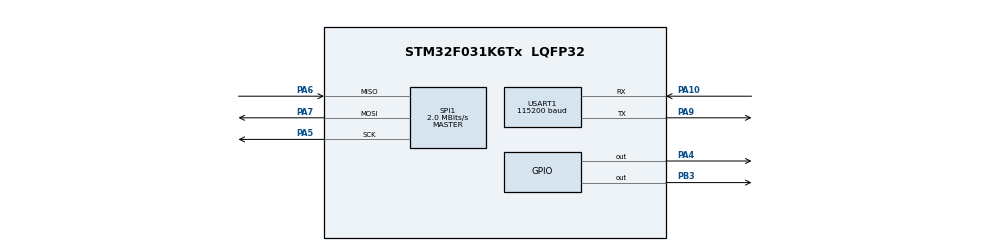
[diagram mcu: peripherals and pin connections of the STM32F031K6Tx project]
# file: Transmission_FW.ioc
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Mcu.Family=STM32F0
Mcu.Name=STM32F031K6Tx
Mcu.Package=LQFP32
NVIC.SPI1_IRQn=true\:0\:0\:false\:false\:true\:true\:true\:true
NVIC.TIM1_BRK_UP_TRG_COM_IRQn=true\:0\:0\:false\:false\:true\:true\:true\:true
NVIC.TIM1_CC_IRQn=true\:0\:0\:false\:false\:true\:true\:true\:true
NVIC.USART1_IRQn=true\:0\:0\:false\:false\:true\:true\:true\:true
PA10.Mode=Asynchronous
PA10.Signal=USART1_RX
PA4.Signal=GPIO_Output
PA5.Mode=Full_Duplex_Master
PA5.Signal=SPI1_SCK
PA6.Mode=Full_Duplex_Master
PA6.Signal=SPI1_MISO
PA7.Mode=Full_Duplex_Master
PA7.Signal=SPI1_MOSI
PA9.Mode=Asynchronous
PA9.Signal=USART1_TX
PB3.Signal=GPIO_Output
ProjectManager.HeapSize=0x200
ProjectManager.StackSize=0x400
ProjectManager.TargetToolchain=STM32CubeIDE
SPI1.BaudRatePrescaler=SPI_BAUDRATEPRESCALER_4
SPI1.CalculateBaudRate=2.0 MBits/s
SPI1.DataSize=SPI_DATASIZE_8BIT
SPI1.Direction=SPI_DIRECTION_2LINES
SPI1.FirstBit=SPI_FIRSTBIT_MSB
SPI1.Mode=SPI_MODE_MASTER
SPI1.VirtualType=VM_MASTER
USART1.BaudRate=115200
USART1.VirtualMode-Asynchronous=VM_ASYNC
VP_RTC_VS_RTC_Activate.Mode=RTC_Enabled
VP_RTC_VS_RTC_Calendar.Mode=RTC_Calendar
VP_TIM1_VS_ClockSourceINT.Mode=Internal
board=custom

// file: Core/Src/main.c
/* USER CODE BEGIN Header */
/**
  ******************************************************************************
  * @file           : main.c
  * @brief          : Main program body
  ******************************************************************************
  * @attention
  *
  * Copyright (c) 2023 STMicroelectronics.
  * All rights reserved.
  *
  * This software is licensed under terms that can be found in the LICENSE file
  * in the root directory of this software component.
  * If no LICENSE file comes with this software, it is provided AS-IS.
  *
  ******************************************************************************
  */
/* USER CODE END Header */
#include "main.h"

/* USER CODE BEGIN Includes */
#include "main.h"
#include "sx1278.h"
#include <string.h>

/* USER CODE END Includes */

RTC_HandleTypeDef hrtc;

SPI_HandleTypeDef hspi1;

TIM_HandleTypeDef htim1;

UART_HandleTypeDef huart1;

/* USER CODE BEGIN PV */
radio r;

__attribute__((unused))
uint8_t data[] = "$uicide Boys no we still breathn$uicide Boys no we still breathn\0\0\0\0\0";
uint8_t rx_mesg[] = "Entering RX Mode\r\n";
/* USER CODE END PV */

void SystemClock_Config(void);
static void MX_GPIO_Init(void);
static void MX_RTC_Init(void);
static void MX_SPI1_Init(void);
static void MX_TIM1_Init(void);
static void MX_USART1_UART_Init(void);
/* USER CODE BEGIN PFP */

//#define TRANSMITTER_MODULE	 	0
#define RECEIVER_MODULE		0
#define BUFFER_SIZE 64

typedef struct {
	uint8_t buffer[BUFFER_SIZE];
	uint8_t buffer_len;
	uint8_t buffer_ready;
}uart_rx;

uart_rx uart_buffer;
/* USER CODE END PFP */

/* USER CODE BEGIN 0 */

void HAL_UART_RxCpltCallback(UART_HandleTypeDef *huart)
{
	//Is there enough space for EOL
	if(uart_buffer.buffer_len < BUFFER_SIZE-1)
	{
		//If Carriage Return Detected.
		if(uart_buffer.buffer[uart_buffer.buffer_len] == '\r')
		{
			//Get Ready to TX the packet of information.
			uart_buffer.buffer[uart_buffer.buffer_len] = '\n';
			uart_buffer.buffer[uart_buffer.buffer_len++] = '\0';
			uart_buffer.buffer_ready = 1;
		}
		else
		{
			HAL_UART_Transmit_IT(&huart1, &uart_buffer.buffer[uart_buffer.buffer_len], 1);
			uart_buffer.buffer_len++;
			HAL_UART_Receive_IT(&huart1, &uart_buffer.buffer[uart_buffer.buffer_len], 1);
		}
	}
	else
	{
		//Buffer is full
		uart_buffer.buffer_ready = 1;
	}
}

void tmp_rx(radio *r, SPI_HandleTypeDef *hspi)
{
	r->sx_state = RECEIVER;
}

void HAL_TIM_PeriodElapsedCallback(TIM_HandleTypeDef *htim){
//	tmp_tx(&r, &hspi1, data, sizeof(data));
}

void sx1278_initializtation(void)
{
	  sx1278_init(&r, &hspi1);
	  r.huart = &huart1;
	  HAL_TIM_Base_Init(&htim1);
#ifdef TRANSMITTER_MODULE
	  uart_buffer.buffer_len = 0;
	  uart_buffer.buffer_ready = 0;
	  HAL_UART_Receive_IT(&huart1, &uart_buffer.buffer[0], 1);
#endif
#ifdef RECEIVER_MODULE
	  HAL_UART_Transmit(&huart1, rx_mesg, strlen((char*)rx_mesg), 100);
	  tmp_rx(&r, &hspi1);
#endif
}

/* USER CODE END 0 */

int main(void)
{

  /* MCU Configuration--------------------------------------------------------*/

  /* Reset of all peripherals, Initializes the Flash interface and the Systick. */
  HAL_Init();

  /* Configure the system clock */
  SystemClock_Config();

  /* Initialize all configured peripherals */
  MX_GPIO_Init();
  MX_RTC_Init();
  MX_SPI1_Init();
  MX_TIM1_Init();
  MX_USART1_UART_Init();
  /* USER CODE BEGIN 2 */
  sx1278_initializtation();
  /* USER CODE END 2 */

  /* Infinite loop */
  /* USER CODE BEGIN WHILE */
  while (1)
  {
	  SX1278_APP(&r, &hspi1);
#ifdef TRANSMITTER_MODULE
	  if(uart_buffer.buffer_ready)
	  {
		  //Buffer is ready. Submit to be sent.
		  if(!r.tx_state_flags.tx_packet_start)
		  {
			  r.sx_state = TRANSMITTER;
		  	  memcpy(r.tx_buffer, (void *)&uart_buffer.buffer[0],uart_buffer.buffer_len);
		  	  r.tx_state_flags.tx_packet_start = 1;
		  }
		  else if(r.tx_state_flags.tx_packet_sent)
		  {
			  //Packet Sent.
			  uart_buffer.buffer_ready = 0;
			  uart_buffer.buffer_len = 0;
			  r.tx_state_flags.tx_packet_start = 0;
			  HAL_UART_Receive_IT(&huart1, &uart_buffer.buffer[0], 1);
		  }
		  else
		  {
			  //Wait
		  }
	  }
#endif
    /* USER CODE END WHILE */

  }
}

void SystemClock_Config(void)
{
  RCC_OscInitTypeDef RCC_OscInitStruct = {0};
  RCC_ClkInitTypeDef RCC_ClkInitStruct = {0};
  RCC_PeriphCLKInitTypeDef PeriphClkInit = {0};

  /** Initializes the RCC Oscillators according to the specified parameters
  * in the RCC_OscInitTypeDef structure.
  */
  RCC_OscInitStruct.OscillatorType = RCC_OSCILLATORTYPE_HSI|RCC_OSCILLATORTYPE_LSI;
  RCC_OscInitStruct.HSIState = RCC_HSI_ON;
  RCC_OscInitStruct.HSICalibrationValue = RCC_HSICALIBRATION_DEFAULT;
  RCC_OscInitStruct.LSIState = RCC_LSI_ON;
  RCC_OscInitStruct.PLL.PLLState = RCC_PLL_NONE;
  if (HAL_RCC_OscConfig(&RCC_OscInitStruct) != HAL_OK)
  {
    Error_Handler();
  }

  /** Initializes the CPU, AHB and APB buses clocks
  */
  RCC_ClkInitStruct.ClockType = RCC_CLOCKTYPE_HCLK|RCC_CLOCKTYPE_SYSCLK
                              |RCC_CLOCKTYPE_PCLK1;
  RCC_ClkInitStruct.SYSCLKSource = RCC_SYSCLKSOURCE_HSI;
  RCC_ClkInitStruct.AHBCLKDivider = RCC_SYSCLK_DIV1;
  RCC_ClkInitStruct.APB1CLKDivider = RCC_HCLK_DIV1;

  if (HAL_RCC_ClockConfig(&RCC_ClkInitStruct, FLASH_LATENCY_0) != HAL_OK)
  {
    Error_Handler();
  }
  PeriphClkInit.PeriphClockSelection = RCC_PERIPHCLK_USART1|RCC_PERIPHCLK_RTC;
  PeriphClkInit.Usart1ClockSelection = RCC_USART1CLKSOURCE_PCLK1;
  PeriphClkInit.RTCClockSelection = RCC_RTCCLKSOURCE_LSI;
  if (HAL_RCCEx_PeriphCLKConfig(&PeriphClkInit) != HAL_OK)
  {
    Error_Handler();
  }
}

static void MX_RTC_Init(void)
{

  RTC_TimeTypeDef sTime = {0};
  RTC_DateTypeDef sDate = {0};

  /** Initialize RTC Only
  */
  hrtc.Instance = RTC;
  hrtc.Init.HourFormat = RTC_HOURFORMAT_24;
  hrtc.Init.AsynchPrediv = 127;
  hrtc.Init.SynchPrediv = 255;
  hrtc.Init.OutPut = RTC_OUTPUT_DISABLE;
  hrtc.Init.OutPutPolarity = RTC_OUTPUT_POLARITY_HIGH;
  hrtc.Init.OutPutType = RTC_OUTPUT_TYPE_OPENDRAIN;
  if (HAL_RTC_Init(&hrtc) != HAL_OK)
  {
    Error_Handler();
  }

  /** Initialize RTC and set the Time and Date
  */
  sTime.Hours = 0x0;
  sTime.Minutes = 0x0;
  sTime.Seconds = 0x0;
  sTime.DayLightSaving = RTC_DAYLIGHTSAVING_NONE;
  sTime.StoreOperation = RTC_STOREOPERATION_RESET;
  if (HAL_RTC_SetTime(&hrtc, &sTime, RTC_FORMAT_BCD) != HAL_OK)
  {
    Error_Handler();
  }
  sDate.WeekDay = RTC_WEEKDAY_MONDAY;
  sDate.Month = RTC_MONTH_JANUARY;
  sDate.Date = 0x1;
  sDate.Year = 0x0;

  if (HAL_RTC_SetDate(&hrtc, &sDate, RTC_FORMAT_BCD) != HAL_OK)
  {
    Error_Handler();
  }

}

static void MX_SPI1_Init(void)
{

  /* SPI1 parameter configuration*/
  hspi1.Instance = SPI1;
  hspi1.Init.Mode = SPI_MODE_MASTER;
  hspi1.Init.Direction = SPI_DIRECTION_2LINES;
  hspi1.Init.DataSize = SPI_DATASIZE_8BIT;
  hspi1.Init.CLKPolarity = SPI_POLARITY_LOW;
  hspi1.Init.CLKPhase = SPI_PHASE_1EDGE;
  hspi1.Init.NSS = SPI_NSS_SOFT;
  hspi1.Init.BaudRatePrescaler = SPI_BAUDRATEPRESCALER_4;
  hspi1.Init.FirstBit = SPI_FIRSTBIT_MSB;
  hspi1.Init.TIMode = SPI_TIMODE_DISABLE;
  hspi1.Init.CRCCalculation = SPI_CRCCALCULATION_DISABLE;
  hspi1.Init.CRCPolynomial = 7;
  hspi1.Init.CRCLength = SPI_CRC_LENGTH_DATASIZE;
  hspi1.Init.NSSPMode = SPI_NSS_PULSE_ENABLE;
  if (HAL_SPI_Init(&hspi1) != HAL_OK)
  {
    Error_Handler();
  }

}

static void MX_TIM1_Init(void)
{

  TIM_ClockConfigTypeDef sClockSourceConfig = {0};
  TIM_MasterConfigTypeDef sMasterConfig = {0};

  htim1.Instance = TIM1;
  htim1.Init.Prescaler = 0;
  htim1.Init.CounterMode = TIM_COUNTERMODE_UP;
  htim1.Init.Period = 65535;
  htim1.Init.ClockDivision = TIM_CLOCKDIVISION_DIV1;
  htim1.Init.RepetitionCounter = 0;
  htim1.Init.AutoReloadPreload = TIM_AUTORELOAD_PRELOAD_DISABLE;
  if (HAL_TIM_Base_Init(&htim1) != HAL_OK)
  {
    Error_Handler();
  }
  sClockSourceConfig.ClockSource = TIM_CLOCKSOURCE_INTERNAL;
  if (HAL_TIM_ConfigClockSource(&htim1, &sClockSourceConfig) != HAL_OK)
  {
    Error_Handler();
  }
  sMasterConfig.MasterOutputTrigger = TIM_TRGO_RESET;
  sMasterConfig.MasterSlaveMode = TIM_MASTERSLAVEMODE_DISABLE;
  if (HAL_TIMEx_MasterConfigSynchronization(&htim1, &sMasterConfig) != HAL_OK)
  {
    Error_Handler();
  }

}

static void MX_USART1_UART_Init(void)
{

  huart1.Instance = USART1;
  huart1.Init.BaudRate = 115200;
  huart1.Init.WordLength = UART_WORDLENGTH_8B;
  huart1.Init.StopBits = UART_STOPBITS_1;
  huart1.Init.Parity = UART_PARITY_NONE;
  huart1.Init.Mode = UART_MODE_TX_RX;
  huart1.Init.HwFlowCtl = UART_HWCONTROL_NONE;
  huart1.Init.OverSampling = UART_OVERSAMPLING_16;
  huart1.Init.OneBitSampling = UART_ONE_BIT_SAMPLE_DISABLE;
  huart1.AdvancedInit.AdvFeatureInit = UART_ADVFEATURE_NO_INIT;
  if (HAL_UART_Init(&huart1) != HAL_OK)
  {
    Error_Handler();
  }

}

static void MX_GPIO_Init(void)
{
  GPIO_InitTypeDef GPIO_InitStruct = {0};

  /* GPIO Ports Clock Enable */
  __HAL_RCC_GPIOA_CLK_ENABLE();
  __HAL_RCC_GPIOB_CLK_ENABLE();

  /*Configure GPIO pin Output Level */
  HAL_GPIO_WritePin(GPIOA, GPIO_PIN_4, GPIO_PIN_RESET);

  /*Configure GPIO pin Output Level */
  HAL_GPIO_WritePin(GPIOB, GPIO_PIN_3, GPIO_PIN_RESET);

  /*Configure GPIO pin : PA4 */
  GPIO_InitStruct.Pin = GPIO_PIN_4;
  GPIO_InitStruct.Mode = GPIO_MODE_OUTPUT_PP;
  GPIO_InitStruct.Pull = GPIO_NOPULL;
  GPIO_InitStruct.Speed = GPIO_SPEED_FREQ_LOW;
  HAL_GPIO_Init(GPIOA, &GPIO_InitStruct);

  /*Configure GPIO pin : PB3 */
  GPIO_InitStruct.Pin = GPIO_PIN_3;
  GPIO_InitStruct.Mode = GPIO_MODE_OUTPUT_PP;
  GPIO_InitStruct.Pull = GPIO_NOPULL;
  GPIO_InitStruct.Speed = GPIO_SPEED_FREQ_LOW;
  HAL_GPIO_Init(GPIOB, &GPIO_InitStruct);

}

void Error_Handler(void)
{
  __disable_irq();
  while (1)
  {
  }
}
